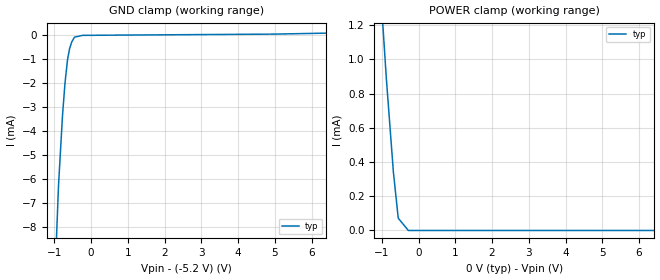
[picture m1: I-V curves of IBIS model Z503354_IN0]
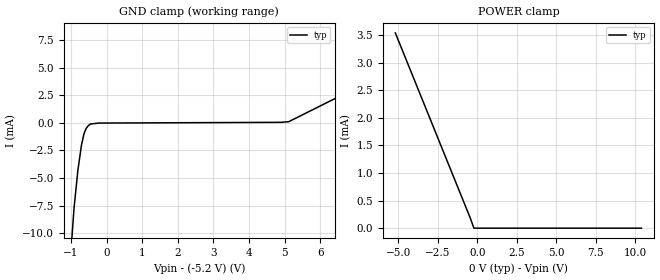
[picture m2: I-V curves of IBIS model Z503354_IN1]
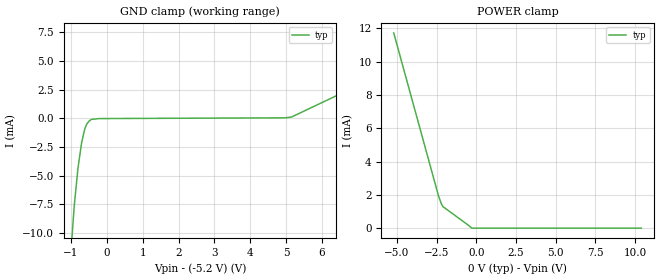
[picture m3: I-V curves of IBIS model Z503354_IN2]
| YOU ARE ONLY AUTHORIZED TO USE THIS SOFTWARE
| ACCORDING TO LICENSOR'S LICENSE RESTRICTIONS.
[IBIS Ver] 3.1
[File Name] mc100e016fn.ibs
[File Rev] 2.0
[Source] Measured and created by ICX Technology
[Date] Friday 7/14/00 9:07:46 AM
[Copyright]
| (C) COPYRIGHT 1993-2000
| MENTOR GRAPHICS CORPORATION
| ICX STANDARD LIBRARY, ICX PROJECT MODELING,
| ICX CUSTOM MODELING, ICX VENDOR MODEL
| ALL RIGHTS RESERVED.
| THE FOLLOWING ARE TRADEMARKS OR SERVICE MARKS OF
| MENTOR GRAPHICS CORPORATION:ICX (R), ICX STANDARD
| LIBRARY(R), ICX PROJECT MODELING(R), ICX CUSTOM
| MODELING(R), qualityIBIS(TM), MODELVIEWER(TM),
| AND MODELEDITOR(TM)
| ALL COPIES OF SOFTWARE, INCLUDING BUT NOT LIMITED TO
| ANY MODIFICATIONS, ENHANCEMENTS OR DERIVATIVE WORKS,
| MUST CONTAIN ALL MENTOR GRAPHICS CORPORATION'S
| NOTICES AND LEGENDS, INCLUDING THOSE EMBEDDED IN
| SOFTWARE AND THOSE AFFIXED TO SOFTWARE MEDIUM
| AND CONTAINER, AS RECEIVED FROM MENTOR GRAPHICS
| CORPORATION.
|  ZAP Model Builder 2.7
[Component] MC100E016FN
[Manufacturer] OnSemiconductor
[Package]
| variable   typ   min   max
R_pkg  .083ohms NA NA
L_pkg  4.299nH NA NA
C_pkg  1.045pF NA NA
[Pin] signal_name  model_name  R_pin  L_pin C_pin
1 VEE POWER .08 3.94n .925p
2 NC NC .082 4.14n .995p
3 P0 Z503354_IN0 .084 4.354n 1.065p
4 P1 Z503354_IN0 .086 4.583n 1.135p
5 P2 Z503354_IN0 .086 4.583n 1.135p
6 P3 Z503354_IN0 .084 4.354n 1.065p
7 P4 Z503354_IN0 .082 4.14n .995p
8 VCCO POWER .08 3.94n .925p
9 Q0 Z503354_OUT0 .082 4.14n .995p
10 Q1 Z503354_OUT0 .084 4.354n 1.065p
11 Q2 Z503354_OUT0 .086 4.583n 1.135p
12 Q3 Z503354_OUT0 .086 4.583n 1.135p
13 Q4 Z503354_OUT0 .084 4.354n 1.065p
14 VCCO POWER .082 4.14n .995p
15 Q5 Z503354_OUT0 .08 3.94n .925p
16 VCC POWER .082 4.14n .995p
17 Q6 Z503354_OUT0 .084 4.354n 1.065p
18 Q7 Z503354_OUT0 .086 4.583n 1.135p
19 _TC Z503354_OUT1 .086 4.583n 1.135p
20 VCCO POWER .084 4.354n 1.065p
21 P5 Z503354_IN0 .082 4.14n .995p
22 P6 Z503354_IN0 .08 3.94n .925p
23 P7 Z503354_IN0 .082 4.14n .995p
24 _CE Z503354_IN1 .084 4.354n 1.065p
25 _PE Z503354_IN2 .086 4.583n 1.135p
26 MR Z503354_IN3 .086 4.583n 1.135p
27 CLK Z503354_IN4 .084 4.354n 1.065p
28 TCLD Z503354_IN5 .082 4.14n .995p
| Models and submodels in the file (8): Z503354_IN0 (Input_ECL), Z503354_IN1 (Input_ECL), Z503354_IN2 (Input_ECL), Z503354_IN3 (Input_ECL), Z503354_IN4 (Input_ECL), Z503354_IN5 (Input_ECL), Z503354_OUT0 (Output_ECL), Z503354_OUT1 (Output_ECL)
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| (C) COPYRIGHT 1993-2000
| MENTOR GRAPHICS CORPORATION
| ICX STANDARD LIBRARY, ICX PROJECT MODELING,
| ICX CUSTOM MODELING, ICX VENDOR MODEL
| ALL RIGHTS RESERVED.
| THE FOLLOWING ARE TRADEMARKS OR SERVICE MARKS OF
| MENTOR GRAPHICS CORPORATION:ICX (R), ICX STANDARD
| LIBRARY(R), ICX PROJECT MODELING(R), ICX CUSTOM
| MODELING(R), qualityIBIS(TM), MODELVIEWER(TM),
| AND MODELEDITOR(TM)
| ALL COPIES OF SOFTWARE, INCLUDING BUT NOT LIMITED TO
| ANY MODIFICATIONS, ENHANCEMENTS OR DERIVATIVE WORKS,
| MUST CONTAIN ALL MENTOR GRAPHICS CORPORATION'S
| NOTICES AND LEGENDS, INCLUDING THOSE EMBEDDED IN
| SOFTWARE AND THOSE AFFIXED TO SOFTWARE MEDIUM
| AND CONTAINER, AS RECEIVED FROM MENTOR GRAPHICS
| CORPORATION.
| Model Application Version 1.89 2/18/99.
[Model] Z503354_IN0
Model_type Input_ECL
Vinl = -1.475V
Vinh = -1.165V
C_comp 4.000pF NA NA
| variable typ   min   max
[Voltage Range] -5.200V NA NA
[GND Clamp Reference] -5.200V NA NA
[POWER Clamp Reference] 0.000V NA NA
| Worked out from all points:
|   GND clamp passes 1 mA (typ) near -0.63 V on its own axis
[GND Clamp]
-5.2V     -251.4mA   NA         NA
-1.07V    -13.64mA   NA         NA
-884mV    -6.265mA   NA         NA
-776mV    -3.362mA   NA         NA
-707mV    -1.993mA   NA         NA
-639mV    -1.034mA   NA         NA
-584mV    -578.4uA   NA         NA
-523mV    -290.6uA   NA         NA
-448mV    -93.31uA   NA         NA
-224mV    -19.03uA   NA         NA
4.973V    32.38uA    NA         NA
10.4V     186.2uA    NA         NA
[POWER Clamp]
-5.2V     21.75mA    NA         NA
-2.421V   6.3mA      NA         NA
-2.173V   5.18mA     NA         NA
-878.5mV  899uA      NA         NA
-683.7mV  341.7uA    NA         NA
-551.5mV  71.66uA    NA         NA
-275.8mV  0A         NA         NA
10.4V     0A         NA         NA
| (C) COPYRIGHT 1993-2000
| MENTOR GRAPHICS CORPORATION
| ICX STANDARD LIBRARY, ICX PROJECT MODELING,
| ICX CUSTOM MODELING, ICX VENDOR MODEL
| ALL RIGHTS RESERVED.
| THE FOLLOWING ARE TRADEMARKS OR SERVICE MARKS OF
| MENTOR GRAPHICS CORPORATION:ICX (R), ICX STANDARD
| LIBRARY(R), ICX PROJECT MODELING(R), ICX CUSTOM
| MODELING(R), qualityIBIS(TM), MODELVIEWER(TM),
| AND MODELEDITOR(TM)
| ALL COPIES OF SOFTWARE, INCLUDING BUT NOT LIMITED TO
| ANY MODIFICATIONS, ENHANCEMENTS OR DERIVATIVE WORKS,
| MUST CONTAIN ALL MENTOR GRAPHICS CORPORATION'S
| NOTICES AND LEGENDS, INCLUDING THOSE EMBEDDED IN
| SOFTWARE AND THOSE AFFIXED TO SOFTWARE MEDIUM
| AND CONTAINER, AS RECEIVED FROM MENTOR GRAPHICS
| CORPORATION.
| Model Application Version 1.89 2/18/99.
[Model] Z503354_IN1
Model_type Input_ECL
Vinl = -1.475V
Vinh = -1.165V
C_comp 4.000pF NA NA
| variable typ   min   max
[Voltage Range] -5.200V NA NA
[GND Clamp Reference] -5.200V NA NA
[POWER Clamp Reference] 0.000V NA NA
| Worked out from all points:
|   GND clamp passes 1 mA (typ) near -0.63 V on its own axis
[GND Clamp]
-5.2V     -272.3mA   NA         NA
-1.063V   -14.45mA   NA         NA
-913mV    -7.714mA   NA         NA
-806mV    -4.323mA   NA         NA
-707mV    -2.064mA   NA         NA
-640mV    -1.061mA   NA         NA
-603mV    -723.3uA   NA         NA
-567mV    -473.8uA   NA         NA
-449mV    -102.5uA   NA         NA
-224.5mV  -19.51uA   NA         NA
5.112V    103.4uA    NA         NA
10.4V     8.638mA    NA         NA
[POWER Clamp]
-5.2V     3.54mA     NA         NA
-439.3mV  176.1uA    NA         NA
-219.7mV  0A         NA         NA
10.4V     0A         NA         NA
| (C) COPYRIGHT 1993-2000
| MENTOR GRAPHICS CORPORATION
| ICX STANDARD LIBRARY, ICX PROJECT MODELING,
| ICX CUSTOM MODELING, ICX VENDOR MODEL
| ALL RIGHTS RESERVED.
| THE FOLLOWING ARE TRADEMARKS OR SERVICE MARKS OF
| MENTOR GRAPHICS CORPORATION:ICX (R), ICX STANDARD
| LIBRARY(R), ICX PROJECT MODELING(R), ICX CUSTOM
| MODELING(R), qualityIBIS(TM), MODELVIEWER(TM),
| AND MODELEDITOR(TM)
| ALL COPIES OF SOFTWARE, INCLUDING BUT NOT LIMITED TO
| ANY MODIFICATIONS, ENHANCEMENTS OR DERIVATIVE WORKS,
| MUST CONTAIN ALL MENTOR GRAPHICS CORPORATION'S
| NOTICES AND LEGENDS, INCLUDING THOSE EMBEDDED IN
| SOFTWARE AND THOSE AFFIXED TO SOFTWARE MEDIUM
| AND CONTAINER, AS RECEIVED FROM MENTOR GRAPHICS
| CORPORATION.
| Model Application Version 1.89 2/18/99.
[Model] Z503354_IN2
Model_type Input_ECL
Vinl = -1.475V
Vinh = -1.165V
C_comp 4.000pF NA NA
| variable typ   min   max
[Voltage Range] -5.200V NA NA
[GND Clamp Reference] -5.200V NA NA
[POWER Clamp Reference] 0.000V NA NA
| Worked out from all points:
|   GND clamp passes 1 mA (typ) near -0.62 V on its own axis
[GND Clamp]
-5.2V     -276.5mA   NA         NA
-1.063V   -14.43mA   NA         NA
-912mV    -7.723mA   NA         NA
-806mV    -4.377mA   NA         NA
-705mV    -2.153mA   NA         NA
-620mV    -966.6uA   NA         NA
-566mV    -535.5uA   NA         NA
-504mV    -267.2uA   NA         NA
-429mV    -86.62uA   NA         NA
4.972V    45.11uA    NA         NA
5.151V    112.6uA    NA         NA
10.4V     7.912mA    NA         NA
[POWER Clamp]
-5.2V     11.72mA    NA         NA
-2.388V   1.973mA    NA         NA
-2.197V   1.455mA    NA         NA
-2.097V   1.292mA    NA         NA
-540.2mV  206.3uA    NA         NA
-270.1mV  0A         NA         NA
10.4V     0A         NA         NA
